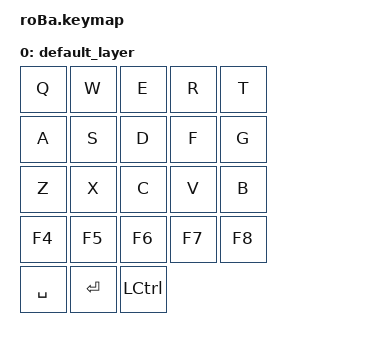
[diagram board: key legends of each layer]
#include <behaviors.dtsi>
#include <dt-bindings/zmk/keys.h>

/ {
    keymap {
        compatible = "zmk,keymap";

        default_layer {
            bindings = <
&kp Q   &kp W   &kp E   &kp R   &kp T
&kp A   &kp S   &kp D   &kp F   &kp G
&kp Z   &kp X   &kp C   &kp V   &kp B
&kp F4  &kp F5  &kp F6  &kp F7  &kp F8
&kp SPACE &kp ENTER &kp LCTRL  // 親指キー（左から順にスペース、エンター、Ctrl）
            >;
        };
    };
};
